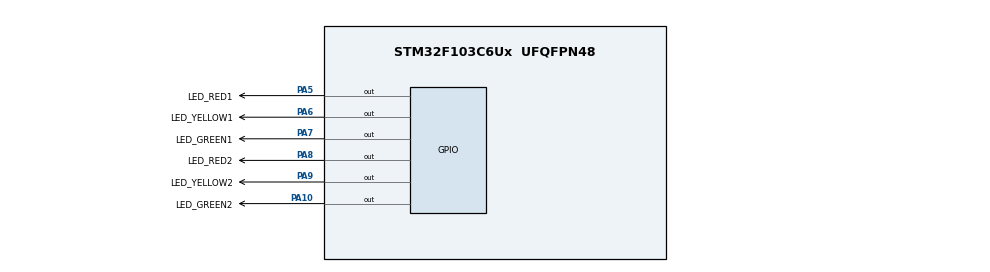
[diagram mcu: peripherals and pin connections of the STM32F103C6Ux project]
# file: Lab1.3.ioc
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Mcu.Family=STM32F1
Mcu.Name=STM32F103C6Ux
Mcu.Package=UFQFPN48
NVIC.PriorityGroup=NVIC_PRIORITYGROUP_4
PA10.GPIO_Label=LED_GREEN2
PA10.Signal=GPIO_Output
PA5.GPIO_Label=LED_RED1
PA5.Signal=GPIO_Output
PA6.GPIO_Label=LED_YELLOW1
PA6.Signal=GPIO_Output
PA7.GPIO_Label=LED_GREEN1
PA7.Signal=GPIO_Output
PA8.GPIO_Label=LED_RED2
PA8.Signal=GPIO_Output
PA9.GPIO_Label=LED_YELLOW2
PA9.Signal=GPIO_Output
ProjectManager.HeapSize=0x200
ProjectManager.StackSize=0x400
ProjectManager.TargetToolchain=STM32CubeIDE
RCC.APB1Freq_Value=8000000
RCC.APB2Freq_Value=8000000
VP_SYS_VS_ND.Mode=No_Debug
board=custom

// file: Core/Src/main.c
/* USER CODE BEGIN Header */
/**
  ******************************************************************************
  * @file           : main.c
  * @brief          : Main program body
  ******************************************************************************
  * @attention
  *
  * <h2><center>&copy; Copyright (c) 2025 STMicroelectronics.
  * All rights reserved.</center></h2>
  *
  * This software component is licensed by ST under BSD 3-Clause license,
  * the "License"; You may not use this file except in compliance with the
  * License. You may obtain a copy of the License at:
  *                        opensource.org/licenses/BSD-3-Clause
  *
  ******************************************************************************
  */
/* USER CODE END Header */
#include "main.h"

void SystemClock_Config(void);
static void MX_GPIO_Init(void);

int main(void)
{

  /* MCU Configuration--------------------------------------------------------*/

  /* Reset of all peripherals, Initializes the Flash interface and the Systick. */
  HAL_Init();

  /* Configure the system clock */
  SystemClock_Config();

  /* Initialize all configured peripherals */
  MX_GPIO_Init();

  /* Infinite loop */
  /* USER CODE BEGIN WHILE */
  int counter = 10;   // total cycle time
  while (1)
  {
      if (counter == 10) {
          // RED1, GREEN2
          HAL_GPIO_WritePin(LED_RED1_GPIO_Port, LED_RED1_Pin, GPIO_PIN_RESET);
          HAL_GPIO_WritePin(LED_YELLOW1_GPIO_Port, LED_YELLOW1_Pin, GPIO_PIN_SET);
          HAL_GPIO_WritePin(LED_GREEN1_GPIO_Port, LED_GREEN1_Pin, GPIO_PIN_SET);

          HAL_GPIO_WritePin(LED_RED2_GPIO_Port, LED_RED2_Pin, GPIO_PIN_SET);
          HAL_GPIO_WritePin(LED_YELLOW2_GPIO_Port, LED_YELLOW2_Pin, GPIO_PIN_SET);
          HAL_GPIO_WritePin(LED_GREEN2_GPIO_Port, LED_GREEN2_Pin, GPIO_PIN_RESET);
      }

      if (counter == 7) {
          // RED1, YELLOW2
          HAL_GPIO_WritePin(LED_RED1_GPIO_Port, LED_RED1_Pin, GPIO_PIN_RESET);
          HAL_GPIO_WritePin(LED_YELLOW1_GPIO_Port, LED_YELLOW1_Pin, GPIO_PIN_SET);
          HAL_GPIO_WritePin(LED_GREEN1_GPIO_Port, LED_GREEN1_Pin, GPIO_PIN_SET);

          HAL_GPIO_WritePin(LED_RED2_GPIO_Port, LED_RED2_Pin, GPIO_PIN_SET);
          HAL_GPIO_WritePin(LED_YELLOW2_GPIO_Port, LED_YELLOW2_Pin, GPIO_PIN_RESET);
          HAL_GPIO_WritePin(LED_GREEN2_GPIO_Port, LED_GREEN2_Pin, GPIO_PIN_SET);
      }

      if (counter == 5) {
          // GREEN1, RED2
          HAL_GPIO_WritePin(LED_RED1_GPIO_Port, LED_RED1_Pin, GPIO_PIN_SET);
          HAL_GPIO_WritePin(LED_YELLOW1_GPIO_Port, LED_YELLOW1_Pin, GPIO_PIN_SET);
          HAL_GPIO_WritePin(LED_GREEN1_GPIO_Port, LED_GREEN1_Pin, GPIO_PIN_RESET);

          HAL_GPIO_WritePin(LED_RED2_GPIO_Port, LED_RED2_Pin, GPIO_PIN_RESET);
          HAL_GPIO_WritePin(LED_YELLOW2_GPIO_Port, LED_YELLOW2_Pin, GPIO_PIN_SET);
          HAL_GPIO_WritePin(LED_GREEN2_GPIO_Port, LED_GREEN2_Pin, GPIO_PIN_SET);
      }

      if (counter == 2) {
          // YELLOW1, RED2
          HAL_GPIO_WritePin(LED_RED1_GPIO_Port, LED_RED1_Pin, GPIO_PIN_SET);
          HAL_GPIO_WritePin(LED_YELLOW1_GPIO_Port, LED_YELLOW1_Pin, GPIO_PIN_RESET);
          HAL_GPIO_WritePin(LED_GREEN1_GPIO_Port, LED_GREEN1_Pin, GPIO_PIN_SET);

          HAL_GPIO_WritePin(LED_RED2_GPIO_Port, LED_RED2_Pin, GPIO_PIN_RESET);
          HAL_GPIO_WritePin(LED_YELLOW2_GPIO_Port, LED_YELLOW2_Pin, GPIO_PIN_SET);
          HAL_GPIO_WritePin(LED_GREEN2_GPIO_Port, LED_GREEN2_Pin, GPIO_PIN_SET);
      }

      counter--;
      if (counter == 0) {
          counter = 10;   // reset
      }

      HAL_Delay(1000);
    /* USER CODE END WHILE */

  }
}

void SystemClock_Config(void)
{
  RCC_OscInitTypeDef RCC_OscInitStruct = {0};
  RCC_ClkInitTypeDef RCC_ClkInitStruct = {0};

  /** Initializes the RCC Oscillators according to the specified parameters
  * in the RCC_OscInitTypeDef structure.
  */
  RCC_OscInitStruct.OscillatorType = RCC_OSCILLATORTYPE_HSI;
  RCC_OscInitStruct.HSIState = RCC_HSI_ON;
  RCC_OscInitStruct.HSICalibrationValue = RCC_HSICALIBRATION_DEFAULT;
  RCC_OscInitStruct.PLL.PLLState = RCC_PLL_NONE;
  if (HAL_RCC_OscConfig(&RCC_OscInitStruct) != HAL_OK)
  {
    Error_Handler();
  }
  /** Initializes the CPU, AHB and APB buses clocks
  */
  RCC_ClkInitStruct.ClockType = RCC_CLOCKTYPE_HCLK|RCC_CLOCKTYPE_SYSCLK
                              |RCC_CLOCKTYPE_PCLK1|RCC_CLOCKTYPE_PCLK2;
  RCC_ClkInitStruct.SYSCLKSource = RCC_SYSCLKSOURCE_HSI;
  RCC_ClkInitStruct.AHBCLKDivider = RCC_SYSCLK_DIV1;
  RCC_ClkInitStruct.APB1CLKDivider = RCC_HCLK_DIV1;
  RCC_ClkInitStruct.APB2CLKDivider = RCC_HCLK_DIV1;

  if (HAL_RCC_ClockConfig(&RCC_ClkInitStruct, FLASH_LATENCY_0) != HAL_OK)
  {
    Error_Handler();
  }
}

static void MX_GPIO_Init(void)
{
  GPIO_InitTypeDef GPIO_InitStruct = {0};

  /* GPIO Ports Clock Enable */
  __HAL_RCC_GPIOA_CLK_ENABLE();

  /*Configure GPIO pin Output Level */
  HAL_GPIO_WritePin(GPIOA, LED_RED1_Pin|LED_YELLOW1_Pin|LED_GREEN1_Pin|LED_RED2_Pin
                          |LED_YELLOW2_Pin|LED_GREEN2_Pin, GPIO_PIN_RESET);

  /*Configure GPIO pins : LED_RED1_Pin LED_YELLOW1_Pin LED_GREEN1_Pin LED_RED2_Pin
                           LED_YELLOW2_Pin LED_GREEN2_Pin */
  GPIO_InitStruct.Pin = LED_RED1_Pin|LED_YELLOW1_Pin|LED_GREEN1_Pin|LED_RED2_Pin
                          |LED_YELLOW2_Pin|LED_GREEN2_Pin;
  GPIO_InitStruct.Mode = GPIO_MODE_OUTPUT_PP;
  GPIO_InitStruct.Pull = GPIO_NOPULL;
  GPIO_InitStruct.Speed = GPIO_SPEED_FREQ_LOW;
  HAL_GPIO_Init(GPIOA, &GPIO_InitStruct);

}

void Error_Handler(void)
{
  __disable_irq();
  while (1)
  {
  }
}

/************************ (C) COPYRIGHT STMicroelectronics *****END OF FILE****/
